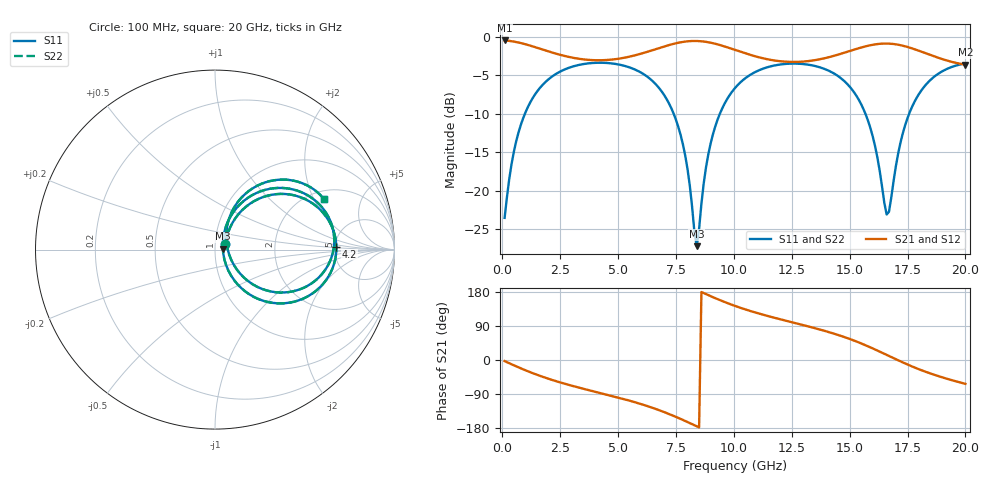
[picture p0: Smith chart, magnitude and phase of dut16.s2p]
! Touchstone file exported from HFSS 2026.1.0
!  File:  C:/ffzhzh/LocalFiles/Ansys_Project_Files/temp_val_TSV_RDL_16_1782977186_15332.aedt
!  Generated:  03:44:32 PM Jul  2, 2026
!  Design:  TSV_RDL
!  Project:  temp_val_TSV_RDL_16_1782977186_15332
! Variables:
!  h_bsmrdl = 4.5um
!  h_ox = 20um
!  h_rdl = 5um
!  h_sub = 52.26um
!  h_tmrdl = 2.94um
!  h_tsv = 52.26um
!  h_via = 3um
!  l_bsmrdl = 939.44um
!  l_sub = 7277.59um
!  l_tmrdl = 986.28um
!  m_sub = 200um
!  pitch = 58.4um
!  r_tsv = 2.02um
!  s_tmrdl = 10um
!  w_bsmrdl = 26.7um
!  w_sub = 500um
!  w_tmrdl = 11.35um
!  x_tsv_center1 = 991.955um
!  x_tsv_center2 = 1958.095um
!  x_tsv_center3 = 2955.725um
!  x_tsv_center4 = 3921.865um
!  x_tsv_center5 = 4919.495um
!  x_tsv_center6 = 5885.635um
# GHz S MA R 50.000000
! Terminal data exported
! Port[1] = TM_RDL1_1_T1
! Port[2] = TM_RDL5_1_T1
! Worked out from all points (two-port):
!   200 points, 100 MHz to 20 GHz, reference 50 ohm
!   highest |S21| = -0.51 dB at 100 MHz (marker M1); lowest = -3.6 dB at 20 GHz (marker M2)
!   |S21| within 3 dB of the highest: start of sweep to 19.75 GHz
!   lowest |S11| = -27.2 dB at 8.4 GHz (marker M3), VSWR 1.09, Z = 54.5 + j0.578 ohm
!   |S11| at or under -10 dB: start of sweep to 978.4 MHz; 7.4 GHz to 9.397 GHz (1.997 GHz wide, 23.8 % of centre); 15.68 GHz to 17.57 GHz (1.892 GHz wide, 11.4 % of centre)
!   |S22| runs from -27.3 to -3.4 dB; largest |S21 - S12| = 1.5e-14
!   S11 on the Smith chart (normalised r, x): 100 MHz: 1.12, +0.07; 4.2 GHz: 5.16, +0.31; 20 GHz: 2.37, +2.41
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0.1  0.06689 29.2  0.9427 -2.9  0.9427 -2.9  0.06689 29.2
! Gamma 0 0 0 0
! Port Impedance 50 0 50 0
0.5  0.1795 56.9  0.9269 -14.1  0.9269 -14.1  0.1795 56.9
1.2  0.3726 49.4  0.8734 -32.0  0.8734 -32.0  0.3726 49.4
2.2  0.5572 31.7  0.7836 -53.6  0.7836 -53.6  0.5572 31.7
3.5  0.6628 11.4  0.7111 -75.9  0.7111 -75.9  0.6628 11.4
4.2  0.6763 1.4  0.7017 -86.7  0.7017 -86.7  0.6763 1.4
5.5  0.6305 -17.9  0.7407 -107.4  0.7407 -107.4  0.6305 -17.9
6.8  0.4579 -40.8  0.8438 -133.0  0.8438 -133.0  0.458 -40.8
7.8  0.2003 -57.9  0.9224 -158.2  0.9224 -158.2  0.2003 -58.0
8.4  0.04385 6.9  0.9353 -174.9  0.9353 -174.9  0.04335 6.8
9  0.2037 64.9  0.9117 168.4  0.9117 168.4  0.2035 65.0
10.1  0.473 46.3  0.814 141.6  0.814 141.6  0.4729 46.3
11.8  0.6512 18.5  0.6978 110.7  0.6978 110.7  0.6511 18.5
13.4  0.6494 -4.2  0.6989 85.7  0.6989 85.7  0.6493 -4.2
15.5  0.3638 -38.5  0.8486 43.8  0.8486 43.8  0.3637 -38.6
16  0.2248 -44.0  0.8842 30.6  0.8842 30.6  0.2248 -44.1
16.6  0.07033 2.5  0.9004 13.5  0.9004 13.5  0.07002 2.4
16.7  0.07329 27.9  0.8993 10.6  0.8993 10.6  0.07299 28.0
17.2  0.2064 66.0  0.8785 -3.7  0.8785 -3.7  0.2063 66.0
17.8  0.3772 60.0  0.8276 -19.7  0.8276 -19.7  0.3772 60.0
18.7  0.5559 44.5  0.7392 -39.9  0.7392 -39.9  0.5559 44.5
20  0.6692 24.8  0.658 -63.0  0.658 -63.0  0.6692 24.8
